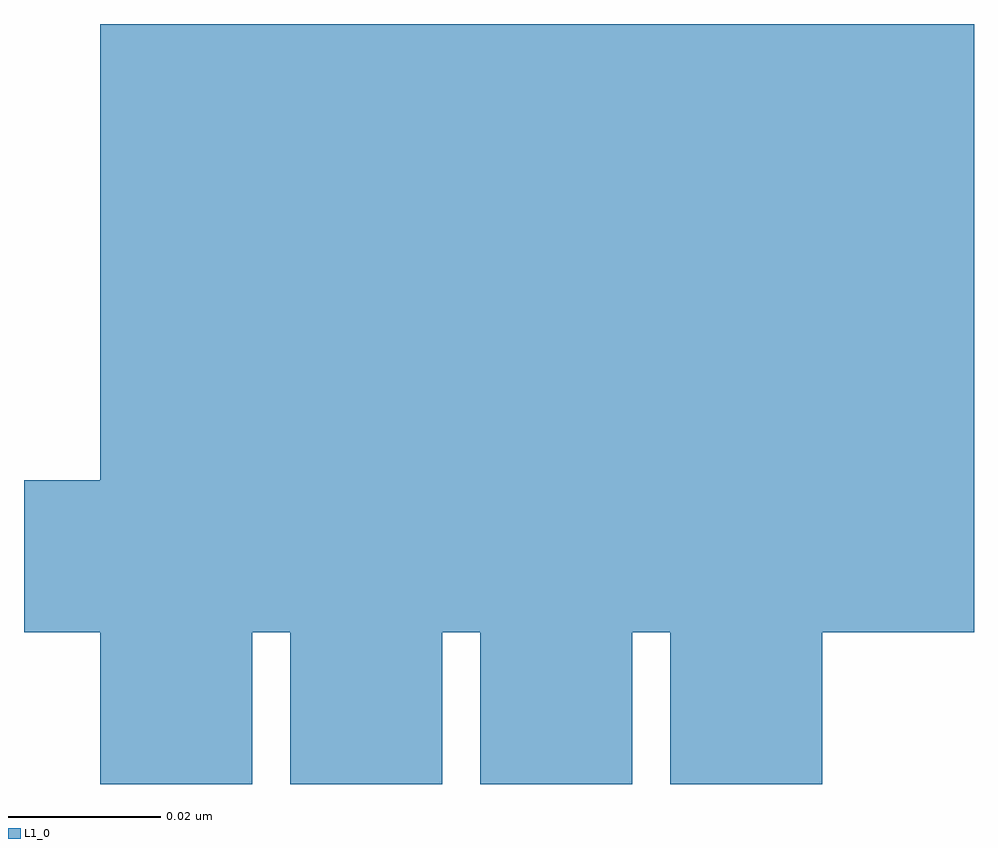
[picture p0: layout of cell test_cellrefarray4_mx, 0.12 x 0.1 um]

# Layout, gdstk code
import gdstk
lib = gdstk.Library(unit=1e-6, precision=1e-09)
def P(c, l, *ps):  # polygons
    for p in ps: c.add(gdstk.Polygon(p, *l))
L1_0 = (1, 0)

test = lib.new_cell('test')
P(test, L1_0, [(0,0),(0,0.02),(0.01,0.02),(0.01,0.01),(0.02,0.01),(0.02,0)])

test_cellrefarray4_mx = lib.new_cell('test_cellrefarray4_mx')
test_cellrefarray4_mx.add(gdstk.Reference(test, (0,0)))
r = gdstk.Reference(test, (0.01,0.02), magnification=2, x_reflection=True); r.repetition = gdstk.Repetition(4, 4, v1=(0.025,0), v2=(0,0.02)); test_cellrefarray4_mx.add(r)

lib.write_gds('test_cellrefarray4_mx.gds')
